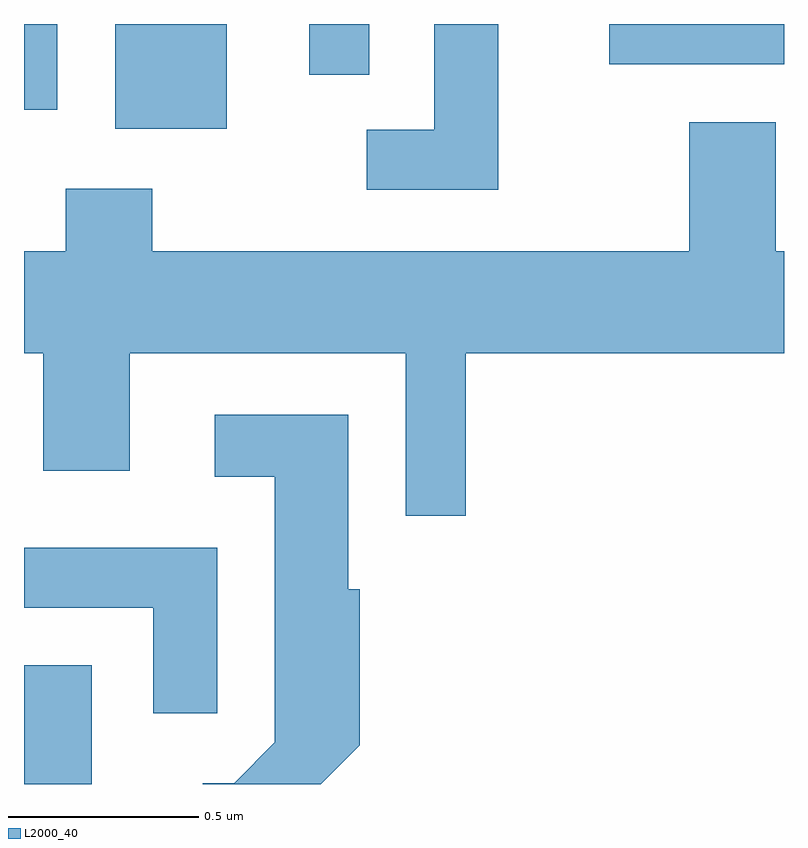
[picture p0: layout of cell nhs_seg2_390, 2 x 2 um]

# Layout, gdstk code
import gdstk
lib = gdstk.Library(unit=1e-6, precision=1e-09)
def R(c, l, rs):  # rectangles x0, y0, x1, y1
    for r in rs: c.add(gdstk.rectangle(r[:2], r[2:], *l))
def P(c, l, *ps):  # polygons
    for p in ps: c.add(gdstk.Polygon(p, *l))
L2000_40 = (2000, 40)

nhs_seg2_390 = lib.new_cell('nhs_seg2_390')
R(nhs_seg2_390, L2000_40, [(187.611,1093.802,187.789,1094.114), (187.851,1095.526,188.144,1095.802), (187.611,1095.576,187.699,1095.802), (188.361,1095.668,188.519,1095.802), (189.151,1095.696,189.611,1095.802)])
P(nhs_seg2_390, L2000_40, [(188.859,1095.802),(188.691,1095.802),(188.691,1095.524),(188.513,1095.524),(188.513,1095.366),(188.859,1095.366)],
  [(188.774,1094.936),(189.611,1094.936),(189.611,1095.204),(189.589,1095.204),(189.589,1095.544),(189.361,1095.544),(189.361,1095.204),(187.949,1095.204),(187.949,1095.369),(187.721,1095.369),(187.721,1095.204),(187.611,1095.204),(187.611,1094.936),(187.661,1094.936),(187.661,1094.626),(187.889,1094.626),(187.889,1094.936),(188.616,1094.936),(188.616,1094.508),(188.774,1094.508)],
  [(188.494,1093.904),(188.494,1094.314),(188.464,1094.314),(188.464,1094.774),(188.113,1094.774),(188.113,1094.611),(188.271,1094.611),(188.271,1093.912),(188.164,1093.804),(188.081,1093.804),(188.081,1093.802),(188.392,1093.802)],
  [(188.119,1094.424),(187.611,1094.424),(187.611,1094.266),(187.951,1094.266),(187.951,1093.988),(188.119,1093.988)])

lib.write_gds('nhs_seg2_390.gds')
